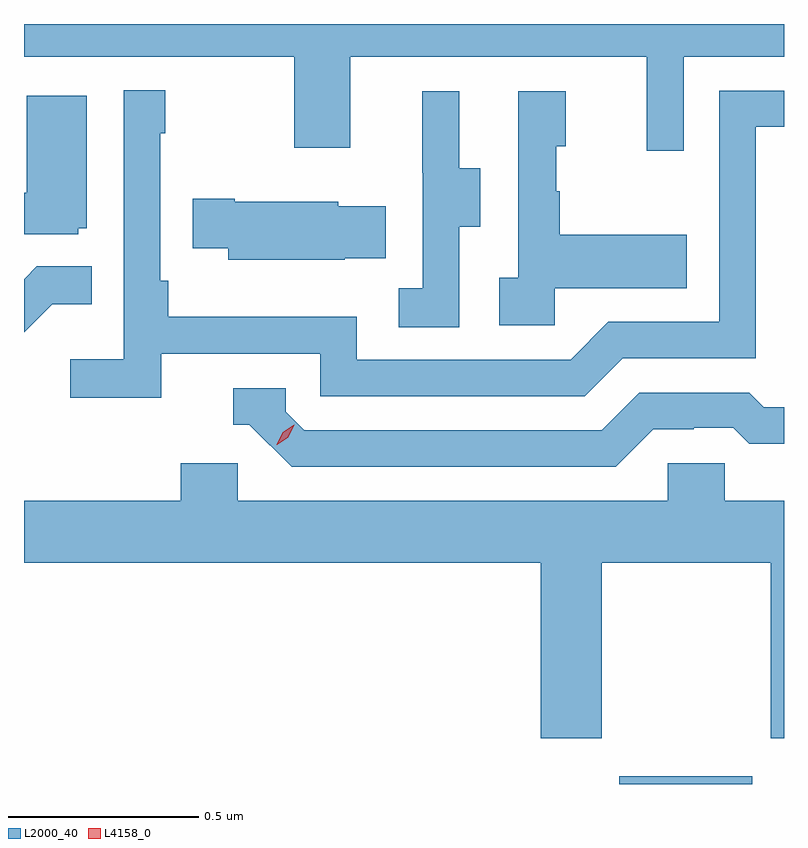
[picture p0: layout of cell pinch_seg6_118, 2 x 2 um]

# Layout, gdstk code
import gdstk
lib = gdstk.Library(unit=1e-6, precision=1e-09)
def R(c, l, rs):  # rectangles x0, y0, x1, y1
    for r in rs: c.add(gdstk.rectangle(r[:2], r[2:], *l))
def P(c, l, *ps):  # polygons
    for p in ps: c.add(gdstk.Polygon(p, *l))
L2000_40 = (2000, 40)
L4158_0 = (4158, 0)

pinch_seg6_118 = lib.new_cell('pinch_seg6_118')
R(pinch_seg6_118, L2000_40, [(967.436,932.102,967.786,932.122)])
P(pinch_seg6_118, L2000_40, [(967.605,934.016),(967.869,934.016),(967.869,934.102),(965.869,934.102),(965.869,934.016),(966.58,934.016),(966.58,933.777),(966.727,933.777),(966.727,934.016),(967.508,934.016),(967.508,933.768),(967.605,933.768)],
  [(966.23,933.234),(966.648,933.234),(966.648,933.123),(967.345,933.123),(967.444,933.222),(967.794,933.222),(967.794,933.831),(967.869,933.831),(967.869,933.927),(967.698,933.927),(967.698,933.318),(967.407,933.318),(967.308,933.219),(966.744,933.219),(966.744,933.331),(966.248,933.331),(966.248,933.427),(966.228,933.427),(966.228,933.815),(966.241,933.815),(966.241,933.928),(966.132,933.928),(966.132,933.22),(965.991,933.22),(965.991,933.118),(966.23,933.118)],
  [(967.014,933.568),(967.069,933.568),(967.069,933.723),(967.015,933.723),(967.015,933.925),(966.917,933.925),(966.917,933.711),(966.918,933.711),(966.918,933.407),(966.855,933.407),(966.855,933.304),(967.014,933.304)],
  [(967.266,933.407),(967.613,933.407),(967.613,933.547),(967.279,933.547),(967.279,933.662),(967.269,933.662),(967.269,933.78),(967.294,933.78),(967.294,933.925),(967.17,933.925),(967.17,933.434),(967.119,933.434),(967.119,933.309),(967.266,933.309)],
  [(966.012,933.564),(966.034,933.564),(966.034,933.913),(965.876,933.913),(965.876,933.658),(965.869,933.658),(965.869,933.549),(966.012,933.549)],
  [(966.713,933.485),(966.821,933.485),(966.821,933.622),(966.696,933.622),(966.696,933.634),(966.424,933.634),(966.424,933.642),(966.313,933.642),(966.313,933.512),(966.407,933.512),(966.407,933.482),(966.713,933.482)],
  [(965.943,933.365),(966.047,933.365),(966.047,933.464),(965.903,933.464),(965.869,933.43),(965.869,933.291)],
  [(967.525,933.036),(967.632,933.036),(967.632,933.039),(967.735,933.039),(967.777,932.997),(967.869,932.997),(967.869,933.093),(967.816,933.093),(967.777,933.132),(967.488,933.132),(967.389,933.033),(966.606,933.033),(966.558,933.081),(966.558,933.144),(966.419,933.144),(966.419,933.048),(966.462,933.048),(966.573,932.937),(967.426,932.937)],
  [(967.389,932.684),(967.834,932.684),(967.834,932.223),(967.869,932.223),(967.869,932.848),(967.713,932.848),(967.713,932.946),(967.563,932.946),(967.563,932.848),(966.432,932.848),(966.432,932.946),(966.281,932.946),(966.281,932.848),(965.869,932.848),(965.869,932.684),(967.229,932.684),(967.229,932.223),(967.389,932.223)])
P(pinch_seg6_118, L4158_0, [(966.534,932.995),(966.534,932.995),(966.55,933.028),(966.58,933.048),(966.58,933.048),(966.58,933.048),(966.565,933.015),(966.535,932.995)])

lib.write_gds('pinch_seg6_118.gds')
